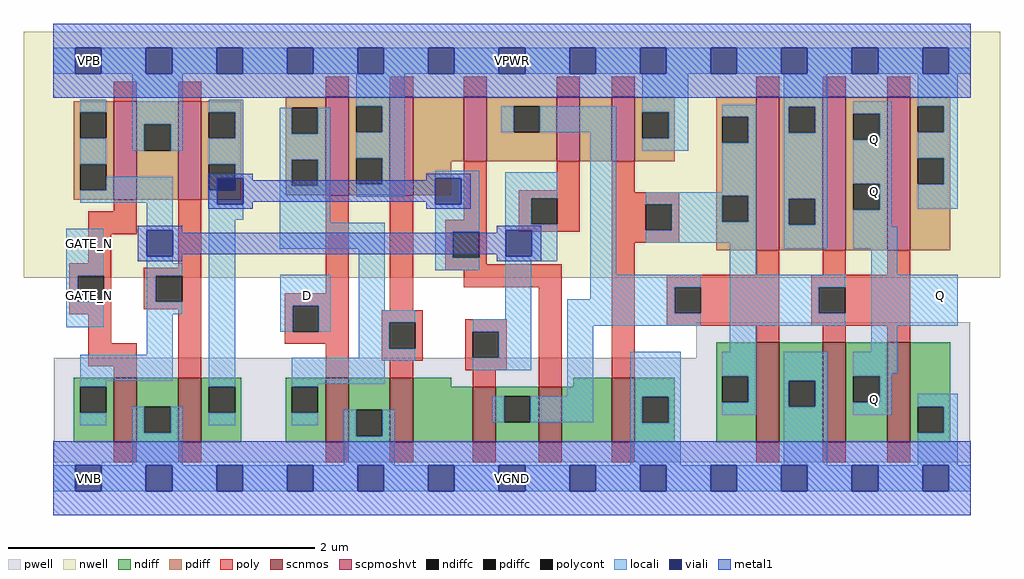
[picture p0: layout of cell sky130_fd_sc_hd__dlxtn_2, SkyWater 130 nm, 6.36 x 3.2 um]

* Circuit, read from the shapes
.subckt sky130_fd_sc_hd__dlxtn_2 D GATE_N VGND VNB VPB VPWR Q
XM1 VGND GATE_N n1 VNB sky130_fd_pr__nfet_01v8 w=0.42 l=0.15
XM2 n2 n1 VGND VNB sky130_fd_pr__nfet_01v8 w=0.42 l=0.15
XM3 VGND D n3 VNB sky130_fd_pr__nfet_01v8 w=0.42 l=0.15
XM4 n4 n3 VGND VNB sky130_fd_pr__nfet_01v8 w=0.42 l=0.15
XM5 n5 n1 n4 VNB sky130_fd_pr__nfet_01v8 w=0.36 l=0.15
XM6 n6 n2 n5 VNB sky130_fd_pr__nfet_01v8 w=0.36 l=0.15
XM7 VGND n7 n6 VNB sky130_fd_pr__nfet_01v8 w=0.42 l=0.15
XM8 VGND n5 n7 VNB sky130_fd_pr__nfet_01v8 w=0.65 l=0.15
XM9 Q n7 VGND VNB sky130_fd_pr__nfet_01v8 w=0.65 l=0.15 m=2
XM10 VPWR GATE_N n1 VPB sky130_fd_pr__pfet_01v8_hvt w=0.64 l=0.15
XM11 n2 n1 VPWR VPB sky130_fd_pr__pfet_01v8_hvt w=0.64 l=0.15
XM12 VPWR D n3 VPB sky130_fd_pr__pfet_01v8_hvt w=0.64 l=0.15
XM13 n8 n3 VPWR VPB sky130_fd_pr__pfet_01v8_hvt w=0.64 l=0.15
XM14 n5 n2 n8 VPB sky130_fd_pr__pfet_01v8_hvt w=0.42 l=0.15
XM15 n9 n1 n5 VPB sky130_fd_pr__pfet_01v8_hvt w=0.42 l=0.15
XM16 VPWR n7 n9 VPB sky130_fd_pr__pfet_01v8_hvt w=0.42 l=0.15
XM17 VPWR n5 n7 VPB sky130_fd_pr__pfet_01v8_hvt w=1 l=0.15
XM18 Q n7 VPWR VPB sky130_fd_pr__pfet_01v8_hvt w=1 l=0.15 m=2
.ends

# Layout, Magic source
magic
tech sky130A
magscale 1 2
<< nwell >>
rect -38 261 1234 582
<< pwell >>
rect 838 157 1195 203
rect 1 21 1195 157
rect 30 -17 64 21
<< scnmos >>
rect 79 47 109 131
rect 163 47 193 131
rect 355 47 385 131
rect 439 47 469 131
rect 547 47 577 119
rect 633 47 663 119
rect 728 47 758 131
rect 916 47 946 177
rect 1003 47 1033 177
rect 1087 47 1117 177
<< scpmoshvt >>
rect 79 363 109 491
rect 163 363 193 491
rect 355 369 385 497
rect 439 369 469 497
rect 535 413 565 497
rect 656 413 686 497
rect 728 413 758 497
rect 916 297 946 497
rect 1003 297 1033 497
rect 1087 297 1117 497
<< ndiff >>
rect 27 119 79 131
rect 27 85 35 119
rect 69 85 79 119
rect 27 47 79 85
rect 109 93 163 131
rect 109 59 119 93
rect 153 59 163 93
rect 109 47 163 59
rect 193 119 245 131
rect 193 85 203 119
rect 237 85 245 119
rect 193 47 245 85
rect 303 119 355 131
rect 303 85 311 119
rect 345 85 355 119
rect 303 47 355 85
rect 385 89 439 131
rect 385 55 395 89
rect 429 55 439 89
rect 385 47 439 55
rect 469 119 519 131
rect 864 133 916 177
rect 678 119 728 131
rect 469 47 547 119
rect 577 107 633 119
rect 577 73 588 107
rect 622 73 633 107
rect 577 47 633 73
rect 663 47 728 119
rect 758 106 810 131
rect 758 72 768 106
rect 802 72 810 106
rect 758 47 810 72
rect 864 99 872 133
rect 906 99 916 133
rect 864 47 916 99
rect 946 127 1003 177
rect 946 93 959 127
rect 993 93 1003 127
rect 946 47 1003 93
rect 1033 133 1087 177
rect 1033 99 1043 133
rect 1077 99 1087 133
rect 1033 47 1087 99
rect 1117 93 1169 177
rect 1117 59 1127 93
rect 1161 59 1169 93
rect 1117 47 1169 59
<< pdiff >>
rect 27 477 79 491
rect 27 443 35 477
rect 69 443 79 477
rect 27 409 79 443
rect 27 375 35 409
rect 69 375 79 409
rect 27 363 79 375
rect 109 461 163 491
rect 109 427 119 461
rect 153 427 163 461
rect 109 363 163 427
rect 193 477 245 491
rect 193 443 203 477
rect 237 443 245 477
rect 193 409 245 443
rect 193 375 203 409
rect 237 375 245 409
rect 193 363 245 375
rect 303 483 355 497
rect 303 449 311 483
rect 345 449 355 483
rect 303 415 355 449
rect 303 381 311 415
rect 345 381 355 415
rect 303 369 355 381
rect 385 485 439 497
rect 385 451 395 485
rect 429 451 439 485
rect 385 417 439 451
rect 385 383 395 417
rect 429 383 439 417
rect 385 369 439 383
rect 469 413 535 497
rect 565 485 656 497
rect 565 451 600 485
rect 634 451 656 485
rect 565 413 656 451
rect 686 413 728 497
rect 758 477 810 497
rect 758 443 768 477
rect 802 443 810 477
rect 758 413 810 443
rect 864 471 916 497
rect 864 437 872 471
rect 906 437 916 471
rect 469 369 519 413
rect 864 368 916 437
rect 864 334 872 368
rect 906 334 916 368
rect 864 297 916 334
rect 946 484 1003 497
rect 946 450 959 484
rect 993 450 1003 484
rect 946 364 1003 450
rect 946 330 959 364
rect 993 330 1003 364
rect 946 297 1003 330
rect 1033 475 1087 497
rect 1033 441 1043 475
rect 1077 441 1087 475
rect 1033 384 1087 441
rect 1033 350 1043 384
rect 1077 350 1087 384
rect 1033 297 1087 350
rect 1117 485 1169 497
rect 1117 451 1127 485
rect 1161 451 1169 485
rect 1117 417 1169 451
rect 1117 383 1127 417
rect 1161 383 1169 417
rect 1117 297 1169 383
<< ndiffc >>
rect 35 85 69 119
rect 119 59 153 93
rect 203 85 237 119
rect 311 85 345 119
rect 395 55 429 89
rect 588 73 622 107
rect 768 72 802 106
rect 872 99 906 133
rect 959 93 993 127
rect 1043 99 1077 133
rect 1127 59 1161 93
<< pdiffc >>
rect 35 443 69 477
rect 35 375 69 409
rect 119 427 153 461
rect 203 443 237 477
rect 203 375 237 409
rect 311 449 345 483
rect 311 381 345 415
rect 395 451 429 485
rect 395 383 429 417
rect 600 451 634 485
rect 768 443 802 477
rect 872 437 906 471
rect 872 334 906 368
rect 959 450 993 484
rect 959 330 993 364
rect 1043 441 1077 475
rect 1043 350 1077 384
rect 1127 451 1161 485
rect 1127 383 1161 417
<< poly >>
rect 79 491 109 517
rect 163 491 193 517
rect 355 497 385 523
rect 439 497 469 523
rect 535 497 565 523
rect 656 497 686 523
rect 728 497 758 523
rect 916 497 946 523
rect 1003 497 1033 523
rect 1087 497 1117 523
rect 79 348 109 363
rect 46 318 109 348
rect 46 280 76 318
rect 21 264 76 280
rect 163 274 193 363
rect 21 230 32 264
rect 66 230 76 264
rect 21 214 76 230
rect 118 264 193 274
rect 118 230 134 264
rect 168 230 193 264
rect 355 241 385 369
rect 118 220 193 230
rect 46 176 76 214
rect 46 146 109 176
rect 79 131 109 146
rect 163 131 193 220
rect 302 225 385 241
rect 302 191 312 225
rect 346 191 385 225
rect 439 219 469 369
rect 535 337 565 413
rect 656 375 686 413
rect 511 321 565 337
rect 607 365 686 375
rect 607 331 623 365
rect 657 331 686 365
rect 607 321 686 331
rect 728 373 758 413
rect 728 357 816 373
rect 728 323 772 357
rect 806 323 816 357
rect 511 287 521 321
rect 555 287 565 321
rect 511 279 565 287
rect 728 307 816 323
rect 511 271 663 279
rect 535 249 663 271
rect 302 175 385 191
rect 355 131 385 175
rect 428 203 482 219
rect 428 169 438 203
rect 472 169 482 203
rect 428 153 482 169
rect 537 191 591 207
rect 537 157 547 191
rect 581 157 591 191
rect 439 131 469 153
rect 537 141 591 157
rect 547 119 577 141
rect 633 119 663 249
rect 728 131 758 307
rect 916 265 946 297
rect 1003 265 1033 297
rect 1087 265 1117 297
rect 800 249 946 265
rect 800 215 810 249
rect 844 215 946 249
rect 800 199 946 215
rect 988 249 1117 265
rect 988 215 998 249
rect 1032 215 1117 249
rect 988 199 1117 215
rect 916 177 946 199
rect 1003 177 1033 199
rect 1087 177 1117 199
rect 79 21 109 47
rect 163 21 193 47
rect 355 21 385 47
rect 439 21 469 47
rect 547 21 577 47
rect 633 21 663 47
rect 728 21 758 47
rect 916 21 946 47
rect 1003 21 1033 47
rect 1087 21 1117 47
<< polycont >>
rect 32 230 66 264
rect 134 230 168 264
rect 312 191 346 225
rect 623 331 657 365
rect 772 323 806 357
rect 521 287 555 321
rect 438 169 472 203
rect 547 157 581 191
rect 810 215 844 249
rect 998 215 1032 249
<< locali >>
rect 0 527 29 561
rect 63 527 121 561
rect 155 527 213 561
rect 247 527 305 561
rect 339 527 397 561
rect 431 527 489 561
rect 523 527 581 561
rect 615 527 673 561
rect 707 527 765 561
rect 799 527 857 561
rect 891 527 949 561
rect 983 527 1041 561
rect 1075 527 1133 561
rect 1167 527 1196 561
rect 35 477 69 493
rect 35 409 69 443
rect 103 461 169 527
rect 103 427 119 461
rect 153 427 169 461
rect 203 477 248 493
rect 395 485 458 527
rect 237 443 248 477
rect 203 409 248 443
rect 69 375 156 393
rect 35 359 156 375
rect 17 264 66 325
rect 17 230 32 264
rect 17 197 66 230
rect 122 323 156 359
rect 122 280 156 289
rect 237 391 248 409
rect 203 357 214 375
rect 203 337 248 357
rect 295 449 311 483
rect 345 449 361 483
rect 295 415 361 449
rect 295 381 311 415
rect 345 381 361 415
rect 122 264 168 280
rect 122 230 134 264
rect 122 214 168 230
rect 122 161 156 214
rect 35 127 156 161
rect 35 119 69 127
rect 203 119 237 337
rect 295 333 361 381
rect 429 451 458 485
rect 584 451 600 485
rect 634 451 734 485
rect 395 417 458 451
rect 429 383 458 417
rect 395 367 458 383
rect 498 391 555 401
rect 532 357 555 391
rect 295 299 432 333
rect 296 225 362 265
rect 296 191 312 225
rect 346 191 362 225
rect 398 219 432 299
rect 498 321 555 357
rect 498 287 521 321
rect 498 271 555 287
rect 589 365 657 399
rect 589 331 623 365
rect 589 323 657 331
rect 589 289 590 323
rect 624 289 657 323
rect 589 283 657 289
rect 398 203 472 219
rect 589 207 623 283
rect 700 265 734 451
rect 768 477 828 527
rect 802 443 828 477
rect 768 427 828 443
rect 872 471 916 487
rect 906 437 916 471
rect 872 373 916 437
rect 772 368 916 373
rect 772 357 872 368
rect 806 334 872 357
rect 906 334 916 368
rect 806 323 916 334
rect 772 307 916 323
rect 882 265 916 307
rect 952 484 1009 527
rect 952 450 959 484
rect 993 450 1009 484
rect 952 364 1009 450
rect 952 330 959 364
rect 993 330 1009 364
rect 952 299 1009 330
rect 1043 475 1093 491
rect 1077 441 1093 475
rect 1043 384 1093 441
rect 1077 350 1093 384
rect 1127 485 1179 527
rect 1161 451 1179 485
rect 1127 417 1179 451
rect 1161 383 1179 417
rect 1127 351 1179 383
rect 1043 328 1093 350
rect 1043 299 1100 328
rect 1066 265 1100 299
rect 700 249 844 265
rect 700 233 810 249
rect 398 169 438 203
rect 398 157 472 169
rect 35 69 69 85
rect 103 59 119 93
rect 153 59 169 93
rect 203 69 237 85
rect 311 153 472 157
rect 547 191 623 207
rect 581 157 623 191
rect 311 123 432 153
rect 547 141 623 157
rect 670 215 810 233
rect 670 199 844 215
rect 882 249 1032 265
rect 882 215 998 249
rect 882 199 1032 215
rect 1066 199 1179 265
rect 311 119 345 123
rect 670 107 704 199
rect 882 165 916 199
rect 1066 165 1100 199
rect 311 69 345 85
rect 103 17 169 59
rect 379 55 395 89
rect 429 55 445 89
rect 572 73 588 107
rect 622 73 704 107
rect 752 106 818 165
rect 379 17 445 55
rect 752 72 768 106
rect 802 72 818 106
rect 872 133 916 165
rect 906 99 916 133
rect 872 83 916 99
rect 952 127 1009 165
rect 952 93 959 127
rect 993 93 1009 127
rect 752 17 818 72
rect 952 17 1009 93
rect 1043 137 1100 165
rect 1043 133 1093 137
rect 1077 99 1093 133
rect 1043 83 1093 99
rect 1127 93 1179 110
rect 1161 59 1179 93
rect 1127 17 1179 59
rect 0 -17 29 17
rect 63 -17 121 17
rect 155 -17 213 17
rect 247 -17 305 17
rect 339 -17 397 17
rect 431 -17 489 17
rect 523 -17 581 17
rect 615 -17 673 17
rect 707 -17 765 17
rect 799 -17 857 17
rect 891 -17 949 17
rect 983 -17 1041 17
rect 1075 -17 1133 17
rect 1167 -17 1196 17
<< viali >>
rect 29 527 63 561
rect 121 527 155 561
rect 213 527 247 561
rect 305 527 339 561
rect 397 527 431 561
rect 489 527 523 561
rect 581 527 615 561
rect 673 527 707 561
rect 765 527 799 561
rect 857 527 891 561
rect 949 527 983 561
rect 1041 527 1075 561
rect 1133 527 1167 561
rect 122 289 156 323
rect 214 375 237 391
rect 237 375 248 391
rect 214 357 248 375
rect 498 357 532 391
rect 590 289 624 323
rect 29 -17 63 17
rect 121 -17 155 17
rect 213 -17 247 17
rect 305 -17 339 17
rect 397 -17 431 17
rect 489 -17 523 17
rect 581 -17 615 17
rect 673 -17 707 17
rect 765 -17 799 17
rect 857 -17 891 17
rect 949 -17 983 17
rect 1041 -17 1075 17
rect 1133 -17 1167 17
<< metal1 >>
rect 0 561 1196 592
rect 0 527 29 561
rect 63 527 121 561
rect 155 527 213 561
rect 247 527 305 561
rect 339 527 397 561
rect 431 527 489 561
rect 523 527 581 561
rect 615 527 673 561
rect 707 527 765 561
rect 799 527 857 561
rect 891 527 949 561
rect 983 527 1041 561
rect 1075 527 1133 561
rect 1167 527 1196 561
rect 0 496 1196 527
rect 202 391 260 397
rect 202 357 214 391
rect 248 388 260 391
rect 486 391 544 397
rect 486 388 498 391
rect 248 360 498 388
rect 248 357 260 360
rect 202 351 260 357
rect 486 357 498 360
rect 532 357 544 391
rect 486 351 544 357
rect 110 323 168 329
rect 110 289 122 323
rect 156 320 168 323
rect 578 323 636 329
rect 578 320 590 323
rect 156 292 590 320
rect 156 289 168 292
rect 110 283 168 289
rect 578 289 590 292
rect 624 289 636 323
rect 578 283 636 289
rect 0 17 1196 48
rect 0 -17 29 17
rect 63 -17 121 17
rect 155 -17 213 17
rect 247 -17 305 17
rect 339 -17 397 17
rect 431 -17 489 17
rect 523 -17 581 17
rect 615 -17 673 17
rect 707 -17 765 17
rect 799 -17 857 17
rect 891 -17 949 17
rect 983 -17 1041 17
rect 1075 -17 1133 17
rect 1167 -17 1196 17
rect 0 -48 1196 -17
<< labels >>
flabel locali s 314 221 348 255 0 FreeSans 200 0 0 0 D
port 1 nsew signal input
flabel locali s 30 221 64 255 0 FreeSans 200 0 0 0 GATE_N
port 2 nsew clock input
flabel locali s 1054 357 1088 391 0 FreeSans 200 0 0 0 Q
port 7 nsew signal output
flabel locali s 30 289 64 323 0 FreeSans 200 0 0 0 GATE_N
port 2 nsew clock input
flabel locali s 1054 425 1088 459 0 FreeSans 200 0 0 0 Q
port 7 nsew signal output
flabel locali s 1054 85 1088 119 0 FreeSans 200 0 0 0 Q
port 7 nsew signal output
flabel locali s 1139 221 1173 255 0 FreeSans 200 0 0 0 Q
port 7 nsew signal output
flabel pwell s 30 -17 64 17 0 FreeSans 200 0 0 0 VNB
port 4 nsew ground bidirectional
flabel nwell s 30 527 64 561 0 FreeSans 200 0 0 0 VPB
port 5 nsew power bidirectional
flabel metal1 s 30 527 64 561 0 FreeSans 200 0 0 0 VPWR
port 6 nsew power bidirectional abutment
flabel metal1 s 30 -17 64 17 0 FreeSans 200 0 0 0 VGND
port 3 nsew ground bidirectional abutment
rlabel comment s 0 0 0 0 4 dlxtn_2
rlabel metal1 s 0 -48 1196 48 1 VGND
port 3 nsew ground bidirectional abutment
rlabel metal1 s 0 496 1196 592 1 VPWR
port 6 nsew power bidirectional abutment
<< properties >>
string FIXED_BBOX 0 0 1196 544
string GDS_END 2854808
string GDS_FILE $PDKPATH/libs.ref/sky130_fd_sc_hd/gds/sky130_fd_sc_hd.gds
string GDS_START 2844736
string LEFclass CORE
string LEFsite unithd
string LEFsymmetry X Y R90
string path 0.000 13.600 29.900 13.600 
<< end >>
